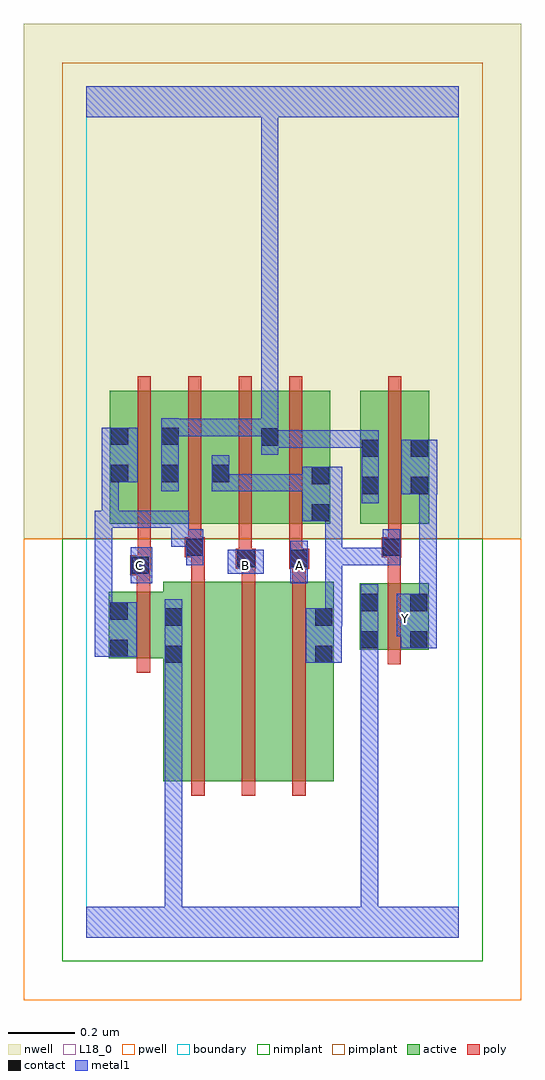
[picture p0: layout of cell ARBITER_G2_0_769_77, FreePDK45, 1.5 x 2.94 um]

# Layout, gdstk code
import gdstk
lib = gdstk.Library(unit=1e-6, precision=1e-09)
def R(c, l, rs):  # rectangles x0, y0, x1, y1
    for r in rs: c.add(gdstk.rectangle(r[:2], r[2:], *l))
def A(c, l, x, y, w, h, nx, ny, dx, dy):  # array of equal rectangles
    R(c, l, [(x+i*dx, y+j*dy, x+i*dx+w, y+j*dy+h) for i in range(nx) for j in range(ny)])
active = (1, 0)
pwell = (2, 0)
nwell = (3, 0)
nimplant = (4, 0)
pimplant = (5, 0)
poly = (9, 0)
contact = (10, 0)
metal1 = (11, 0)
L18_0 = (18, 0)
boundary = (235, 0)

arbiter_g2_0_769_77 = lib.new_cell('ARBITER_G2_0_769_77')
R(arbiter_g2_0_769_77, active, [(0.232,0.47,0.412,1.07), (0.412,0.47,0.564,1.07), (0.564,0.47,0.744,1.07), (0.684,0.556,0.744,1.07), (0.232,0.568,0.292,1.028), (0.068,0.84,0.128,1.04), (0.068,0.84,0.292,1.04), (0.822,0.866,0.882,1.066), (0.822,0.866,1.03,1.066), (0.97,0.866,1.03,1.066), (0.07,1.244,0.13,1.644), (0.07,1.244,0.282,1.644), (0.222,1.244,0.434,1.644), (0.374,1.244,0.582,1.644), (0.522,1.244,0.734,1.644), (0.674,1.244,0.734,1.644), (0.824,1.244,0.884,1.644), (0.824,1.244,1.032,1.644), (0.972,1.244,1.032,1.644), (0.222,1.366,0.282,1.644), (0.374,1.366,0.434,1.644), (0.522,1.476,0.582,1.644)])
R(arbiter_g2_0_769_77, pwell, [(-0.188,-0.188,1.308,1.2)])
R(arbiter_g2_0_769_77, nwell, [(-0.188,1.2,1.308,2.748)])
R(arbiter_g2_0_769_77, nimplant, [(-0.072,-0.072,1.192,1.2)])
R(arbiter_g2_0_769_77, pimplant, [(-0.072,1.2,1.192,2.632)])
A(arbiter_g2_0_769_77, poly, 0.316, 0.426, 0.04, 0.688, 3, 1, 0.152, 0)
A(arbiter_g2_0_769_77, poly, 0.154, 1.2, 0.04, 0.488, 4, 1, 0.152, 0)
R(arbiter_g2_0_769_77, poly, [(0.152,0.796,0.192,1.084), (0.906,0.822,0.946,1.11), (0.152,1.044,0.192,1.13), (0.906,1.07,0.946,1.184), (0.316,1.074,0.356,1.184), (0.468,1.074,0.508,1.15), (0.62,1.074,0.66,1.15), (0.132,1.09,0.192,1.15), (0.152,1.11,0.192,1.15), (0.152,1.11,0.194,1.15), (0.154,1.11,0.194,1.24), (0.45,1.11,0.51,1.17), (0.468,1.11,0.508,1.15), (0.468,1.11,0.508,1.15), (0.61,1.11,0.67,1.17), (0.62,1.11,0.66,1.15), (0.62,1.11,0.66,1.15), (0.458,1.13,0.498,1.24), (0.61,1.13,0.65,1.24), (0.296,1.144,0.356,1.204), (0.316,1.144,0.356,1.184), (0.316,1.144,0.356,1.184), (0.888,1.144,0.948,1.204), (0.906,1.144,0.946,1.184), (0.906,1.144,0.946,1.184), (0.306,1.164,0.346,1.24), (0.908,1.164,0.948,1.24), (0.908,1.2,0.948,1.688)])
A(arbiter_g2_0_769_77, contact, 0.074, 1.37, 0.052, 0.052, 3, 1, 0.152, 0)
R(arbiter_g2_0_769_77, contact, [(0.236,0.826,0.288,0.878), (0.688,0.826,0.74,0.878), (0.072,0.844,0.124,0.896), (0.826,0.87,0.878,0.922), (0.974,0.87,1.026,0.922), (0.236,0.938,0.288,0.99), (0.688,0.938,0.74,0.99), (0.072,0.956,0.124,1.008), (0.826,0.982,0.878,1.034), (0.974,0.982,1.026,1.034), (0.136,1.094,0.188,1.146), (0.454,1.114,0.506,1.166), (0.614,1.114,0.666,1.166), (0.3,1.148,0.352,1.2), (0.892,1.148,0.944,1.2), (0.678,1.252,0.73,1.304), (0.828,1.334,0.88,1.386), (0.976,1.334,1.028,1.386), (0.678,1.364,0.73,1.416), (0.828,1.446,0.88,1.498), (0.976,1.446,1.028,1.498), (0.526,1.48,0.578,1.532), (0.074,1.482,0.126,1.534), (0.226,1.482,0.278,1.534)])
R(arbiter_g2_0_769_77, metal1, [(0,0,1.12,0.092), (0.236,0.04,0.288,0.092), (0.236,0.04,0.288,0.092), (0.236,0.04,0.288,0.092), (0.236,0.04,0.288,0.092), (0.236,0.04,0.288,0.092), (0.236,0.04,0.288,0.092), (0.236,0.04,0.288,0.092), (0.236,0.04,0.288,0.092), (0.236,0.04,0.288,0.85), (0.826,0.04,0.878,0.092), (0.826,0.04,0.878,0.092), (0.826,0.04,0.878,0.092), (0.826,0.04,0.878,0.092), (0.826,0.04,0.878,0.092), (0.826,0.04,0.878,0.092), (0.826,0.04,0.878,0.092), (0.826,0.04,0.878,0.092), (0.826,0.04,0.878,0.092), (0.826,0.04,0.878,0.092), (0.826,0.04,0.878,0.092), (0.826,0.04,0.878,0.092), (0.826,0.04,0.878,0.092), (0.826,0.04,0.878,0.092), (0.826,0.04,0.878,0.092), (0.826,0.04,0.878,0.092), (0.826,0.04,0.878,0.894), (0.236,0.798,0.288,1.018), (0.66,0.826,0.768,0.99), (0.826,0.842,0.878,1.062), (0.026,0.844,0.152,1.008), (0.946,0.87,1.054,1.034), (0.934,0.906,1.054,1.034), (0.716,0.938,0.768,0.99), (0.716,0.938,0.77,0.99), (0.718,0.938,0.77,1.172), (0.026,0.956,0.078,1.284), (0.946,0.982,0.998,1.034), (1.002,0.982,1.054,1.386), (1.002,0.982,1.054,1.034), (1.002,0.982,1.054,1.034), (0.134,1.066,0.198,1.174), (0.614,1.066,0.666,1.194), (0.426,1.094,0.534,1.166), (0.3,1.12,0.352,1.228), (0.718,1.12,0.77,1.172), (0.718,1.12,0.776,1.172), (0.718,1.12,0.77,1.304), (0.724,1.12,0.776,1.172), (0.724,1.12,0.944,1.172), (0.892,1.12,0.944,1.228), (0.256,1.176,0.308,1.284), (0.256,1.176,0.352,1.228), (0.026,1.232,0.078,1.284), (0.026,1.232,0.078,1.284), (0.026,1.232,0.098,1.284), (0.046,1.232,0.098,1.284), (0.046,1.232,0.098,1.284), (0.046,1.232,0.308,1.284), (0.046,1.232,0.098,1.422), (0.65,1.252,0.77,1.416), (0.828,1.306,0.88,1.526), (0.948,1.334,1.056,1.498), (0.226,1.342,0.278,1.562), (0.378,1.342,0.43,1.394), (0.378,1.342,0.43,1.394), (0.378,1.342,0.43,1.45), (0.378,1.342,0.572,1.394), (0.52,1.342,0.572,1.394), (0.52,1.342,0.572,1.394), (0.52,1.342,0.572,1.394), (0.52,1.342,0.702,1.394), (0.046,1.37,0.154,1.534), (0.526,1.452,0.578,1.56), (0.526,1.474,0.578,1.526), (0.526,1.474,0.578,1.526), (0.526,1.474,0.688,1.526), (0.636,1.474,0.688,1.526), (0.636,1.474,0.88,1.526), (0.226,1.508,0.278,1.56), (0.226,1.508,0.278,1.56), (0.226,1.508,0.462,1.56), (0.41,1.508,0.462,1.56), (0.41,1.508,0.462,1.56), (0.41,1.508,0.462,1.56), (0.41,1.508,0.578,1.56), (0.526,1.508,0.578,1.56), (0.526,1.508,0.578,1.56), (0.526,1.508,0.578,1.56), (0.526,1.508,0.578,1.56), (0.526,1.508,0.578,1.56), (0.526,1.508,0.578,1.56), (0.526,1.508,0.578,1.56), (0.526,1.508,0.578,1.56), (0.526,1.508,0.578,1.56), (0.526,1.508,0.578,1.56), (0.526,1.508,0.578,1.56), (0.526,1.508,0.578,1.56), (0.526,1.508,0.578,1.56), (0.526,1.508,0.578,1.56), (0.526,1.508,0.578,2.52), (0,2.468,1.12,2.56), (0.526,2.468,0.578,2.52), (0.526,2.468,0.578,2.52)])
R(arbiter_g2_0_769_77, L18_0, [(0,0,1.12,0.092), (0.236,0.04,0.288,0.092), (0.236,0.04,0.288,0.092), (0.236,0.04,0.288,0.092), (0.236,0.04,0.288,0.092), (0.236,0.04,0.288,0.092), (0.236,0.04,0.288,0.092), (0.236,0.04,0.288,0.092), (0.236,0.04,0.288,0.092), (0.236,0.04,0.288,0.85), (0.826,0.04,0.878,0.092), (0.826,0.04,0.878,0.092), (0.826,0.04,0.878,0.092), (0.826,0.04,0.878,0.092), (0.826,0.04,0.878,0.092), (0.826,0.04,0.878,0.092), (0.826,0.04,0.878,0.092), (0.826,0.04,0.878,0.092), (0.826,0.04,0.878,0.092), (0.826,0.04,0.878,0.092), (0.826,0.04,0.878,0.092), (0.826,0.04,0.878,0.092), (0.826,0.04,0.878,0.092), (0.826,0.04,0.878,0.092), (0.826,0.04,0.878,0.092), (0.826,0.04,0.878,0.092), (0.826,0.04,0.878,0.894), (0.236,0.798,0.288,1.018), (0.826,0.842,0.878,1.062), (0.946,0.87,1.054,1.034), (0.934,0.906,1.054,1.034), (0.934,0.934,0.986,0.986), (0.946,0.982,0.998,1.034), (1.002,0.982,1.054,1.034), (1.002,0.982,1.054,1.034), (1.002,0.982,1.054,1.386), (0.134,1.066,0.198,1.174), (0.614,1.066,0.666,1.194), (0.134,1.094,0.186,1.146), (0.426,1.094,0.534,1.166), (0.454,1.094,0.506,1.146), (0.614,1.094,0.666,1.146), (0.828,1.306,0.88,1.526), (0.948,1.334,1.056,1.498), (0.226,1.342,0.278,1.562), (0.526,1.452,0.578,1.56), (0.526,1.474,0.578,1.526), (0.526,1.474,0.578,1.526), (0.526,1.474,0.688,1.526), (0.636,1.474,0.688,1.526), (0.636,1.474,0.88,1.526), (0.226,1.508,0.278,1.56), (0.226,1.508,0.278,1.56), (0.226,1.508,0.462,1.56), (0.41,1.508,0.462,1.56), (0.41,1.508,0.462,1.56), (0.41,1.508,0.462,1.56), (0.41,1.508,0.578,1.56), (0.526,1.508,0.578,1.56), (0.526,1.508,0.578,1.56), (0.526,1.508,0.578,1.56), (0.526,1.508,0.578,1.56), (0.526,1.508,0.578,1.56), (0.526,1.508,0.578,1.56), (0.526,1.508,0.578,1.56), (0.526,1.508,0.578,1.56), (0.526,1.508,0.578,1.56), (0.526,1.508,0.578,1.56), (0.526,1.508,0.578,1.56), (0.526,1.508,0.578,1.56), (0.526,1.508,0.578,1.56), (0.526,1.508,0.578,1.56), (0.526,1.508,0.578,2.52), (0,2.468,1.12,2.56), (0.526,2.468,0.578,2.52), (0.526,2.468,0.578,2.52)])
R(arbiter_g2_0_769_77, boundary, [(0,0,1.12,2.56)])
arbiter_g2_0_769_77.add(gdstk.Label('A', (0.64,1.12), layer=11, texttype=0))
arbiter_g2_0_769_77.add(gdstk.Label('B', (0.48,1.12), layer=11, texttype=0))
arbiter_g2_0_769_77.add(gdstk.Label('C', (0.16,1.12), layer=11, texttype=0))
arbiter_g2_0_769_77.add(gdstk.Label('Y', (0.96,0.96), layer=11, texttype=0))

lib.write_gds('ARBITER_G2_0_769_77.gds')
